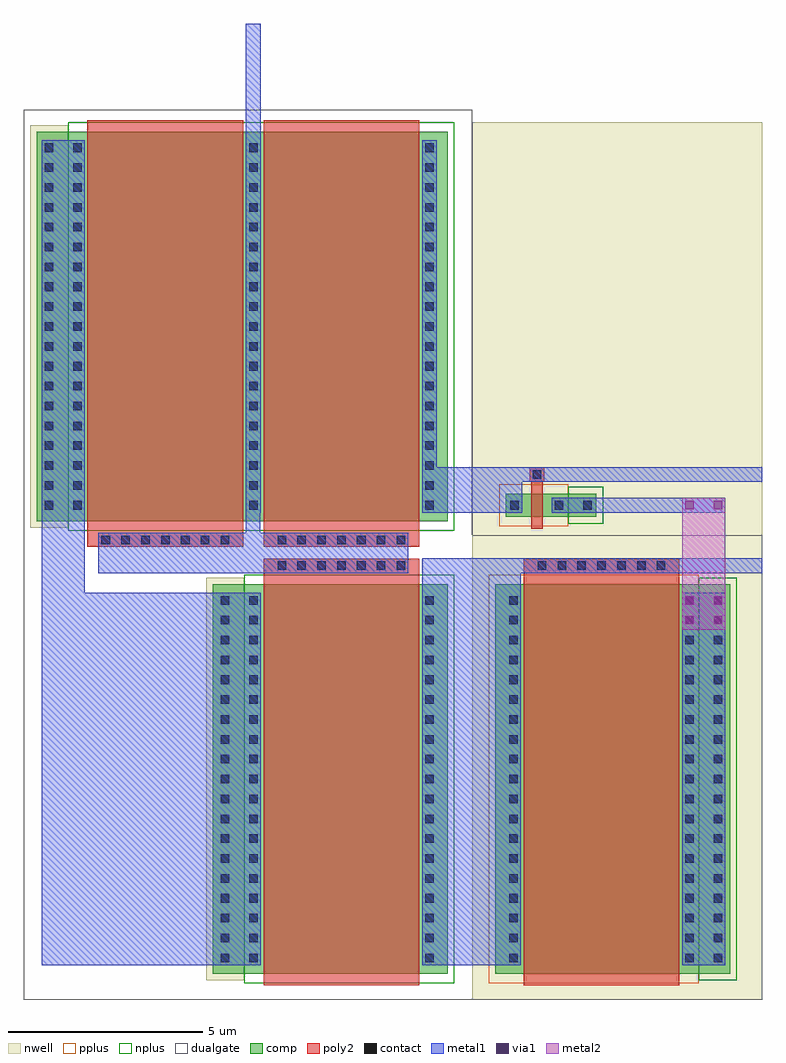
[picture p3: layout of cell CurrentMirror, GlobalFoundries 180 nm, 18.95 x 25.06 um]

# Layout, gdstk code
import gdstk
lib = gdstk.Library(unit=1e-6, precision=1e-09)
def R(c, l, rs):  # rectangles x0, y0, x1, y1
    for r in rs: c.add(gdstk.rectangle(r[:2], r[2:], *l))
def A(c, l, x, y, w, h, nx, ny, dx, dy):  # array of equal rectangles
    R(c, l, [(x+i*dx, y+j*dy, x+i*dx+w, y+j*dy+h) for i in range(nx) for j in range(ny)])
def P(c, l, *ps):  # polygons
    for p in ps: c.add(gdstk.Polygon(p, *l))
nwell = (21, 0)
comp = (22, 0)
poly2 = (30, 0)
pplus = (31, 0)
nplus = (32, 0)
contact = (33, 0)
metal1 = (34, 0)
via1 = (35, 0)
metal2 = (36, 0)
dualgate = (55, 0)

pfet_2 = lib.new_cell('pfet$2')
R(pfet_2, nwell, [(-1.32,-0.99,2.73,1.97)])
R(pfet_2, comp, [(-0.46,0,1.87,0.6)])
P(pfet_2, poly2, [(0.19,-0.3),(0.19,0.9),(0.15,0.9),(0.15,1.28),(0.53,1.28),(0.53,0.9),(0.49,0.9),(0.49,-0.3)])
R(pfet_2, pplus, [(-0.63,-0.24,1.14,0.84)])
R(pfet_2, nplus, [(1.14,-0.17,2.04,0.77)])
R(pfet_2, contact, [(-0.34,0.19,-0.12,0.41), (0.8,0.19,1.02,0.41), (1.53,0.19,1.75,0.41), (0.23,0.98,0.45,1.2)])
R(pfet_2, metal1, [(-0.42,0.11,-0.04,0.49), (0.72,0.11,1.1,0.49), (1.45,0.11,1.83,0.49), (0.15,0.9,0.53,1.28)])

currentmirror = lib.new_cell('CurrentMirror')
R(currentmirror, nwell, [(11.03,-11.2,18.47,11.32), (4.2,-10.71,5.18,-0.37), (-0.32,0.91,0.66,11.25)])
R(currentmirror, comp, [(4.37,-10.54,10.4,-0.54), (11.62,-10.54,17.65,-0.54), (-0.15,1.08,10.4,11.08)])
R(currentmirror, poly2, [(5.67,-10.84,9.67,0.12), (12.35,-10.84,16.35,0.12), (1.15,0.42,5.15,11.38), (5.67,0.42,9.67,11.38)])
R(currentmirror, pplus, [(11.45,-10.78,16.84,-0.3)])
R(currentmirror, nplus, [(5.18,-10.78,10.57,-0.3), (16.84,-10.71,17.82,-0.37), (0.66,0.84,10.57,11.32)])
A(currentmirror, contact, 4.57, -10.24, 0.22, 0.22, 1, 19, 0, 0.51)
A(currentmirror, contact, 5.3, -10.24, 0.22, 0.22, 1, 19, 0, 0.51)
A(currentmirror, contact, 9.82, -10.24, 0.22, 0.22, 1, 19, 0, 0.51)
A(currentmirror, contact, 11.98, -10.24, 0.22, 0.22, 1, 19, 0, 0.51)
A(currentmirror, contact, 16.5, -10.24, 0.22, 0.22, 1, 19, 0, 0.51)
A(currentmirror, contact, 17.23, -10.24, 0.22, 0.22, 1, 19, 0, 0.51)
A(currentmirror, contact, 6.03, -0.17, 0.22, 0.22, 5, 2, 0.51, 0.66)
A(currentmirror, contact, 12.71, -0.17, 0.22, 0.22, 7, 1, 0.51, 0)
A(currentmirror, contact, 1.51, 0.49, 0.22, 0.22, 5, 1, 0.51, 0)
A(currentmirror, contact, 0.05, 1.38, 0.22, 0.22, 1, 19, 0, 0.51)
A(currentmirror, contact, 0.78, 1.38, 0.22, 0.22, 3, 19, 4.52, 0.51)
R(currentmirror, contact, [(8.07,-0.17,8.29,0.05), (8.58,-0.17,8.8,0.05), (8.58,-0.17,8.8,0.05), (9.09,-0.17,9.31,0.05), (9.09,-0.17,9.31,0.05), (3.55,0.49,3.77,0.71), (4.06,0.49,4.28,0.71), (4.06,0.49,4.28,0.71), (4.57,0.49,4.79,0.71), (4.57,0.49,4.79,0.71), (8.07,0.49,8.29,0.71), (8.58,0.49,8.8,0.71), (8.58,0.49,8.8,0.71), (9.09,0.49,9.31,0.71), (9.09,0.49,9.31,0.71)])
A(currentmirror, metal1, 0.7, 1.3, 0.38, 9.56, 3, 1, 4.52, 0)
R(currentmirror, metal1, [(-0.03,-10.32,5.6,-0.76), (4.49,-10.32,4.87,-0.76), (4.87,-10.32,5.22,-0.76), (5.22,-10.32,5.6,-0.76), (9.74,-10.32,10.12,-0.76), (10.12,-10.32,11.9,-0.76), (11.9,-10.32,12.28,-0.76), (16.42,-10.32,16.8,-0.76), (16.8,-10.32,17.15,-0.76), (17.15,-10.32,17.53,-0.76), (-0.03,-1.86,1.08,1.3), (9.74,-0.76,12.28,0.13), (11.9,-0.76,12.28,0.13), (1.43,-0.25,5.95,0.41), (5.95,-0.25,9.39,0.13), (11.9,-0.25,12.63,0.13), (12.63,-0.25,16.07,0.13), (16.07,-0.25,18.47,0.13), (5.95,0.13,9.39,0.41), (1.43,0.41,4.87,0.79), (4.87,0.41,5.95,0.79), (5.22,0.41,5.59,1.3), (5.95,0.41,9.39,0.79), (-0.03,1.3,0.35,10.86), (0.35,1.3,0.7,10.86), (9.74,1.3,12.31,2.47), (13.07,1.3,17.53,1.68), (13.45,1.3,13.8,1.68), (12.31,2.09,18.47,2.47), (12.31,2.09,12.88,2.47), (5.22,10.86,5.6,13.86)])
R(currentmirror, via1, [(16.5,-1.57,16.72,-1.35), (17.23,-1.57,17.45,-1.35), (16.5,-1.06,16.72,-0.84), (17.23,-1.06,17.45,-0.84), (16.5,1.39,16.72,1.61), (17.23,1.39,17.45,1.61)])
R(currentmirror, metal2, [(16.42,-1.71,17.53,1.68)])
R(currentmirror, dualgate, [(-0.48,-11.2,11.03,11.65), (11.03,-11.2,18.47,0.72)])
r = gdstk.Reference(pfet_2, (12.35,1.19)); r.repetition = gdstk.Repetition(1, 1, v1=(0,0), v2=(0,0)); currentmirror.add(r)

lib.write_gds('CurrentMirror.gds')
